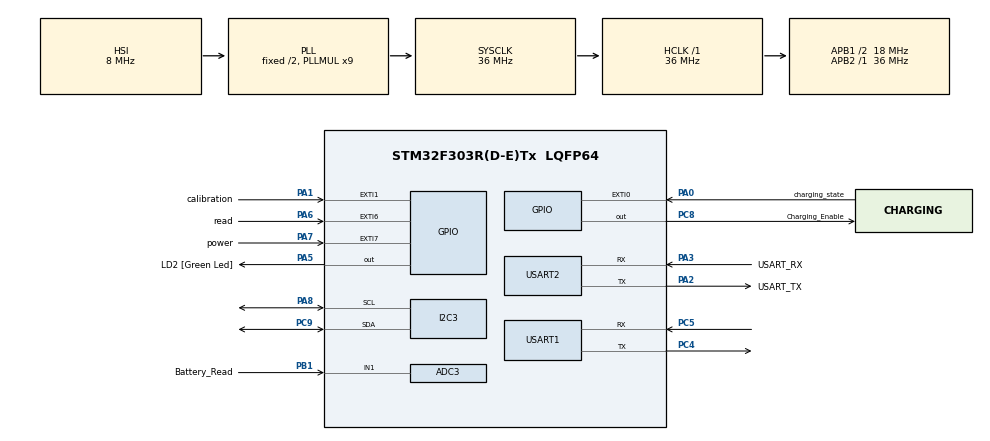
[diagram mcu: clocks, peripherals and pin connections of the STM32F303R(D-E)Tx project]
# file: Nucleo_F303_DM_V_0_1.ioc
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<<<<<<< HEAD
ADC3.Channel-1\#ChannelRegularConversion=ADC_CHANNEL_1
ADC3.ClockPrescaler=ADC_CLOCK_SYNC_PCLK_DIV2
ADC3.NbrOfConversionFlag=1
ADC3.Offset-1\#ChannelRegularConversion=0
ADC3.OffsetNumber-1\#ChannelRegularConversion=ADC_OFFSET_NONE
ADC3.Rank-1\#ChannelRegularConversion=1
ADC3.SamplingTime-1\#ChannelRegularConversion=ADC_SAMPLETIME_601CYCLES_5
ADC3.master=1
I2C3.Timing=0x00201D2B
Mcu.Family=STM32F3
Mcu.Name=STM32F303R(D-E)Tx
Mcu.Package=LQFP64
NVIC.EXTI0_IRQn=true\:0\:0\:false\:false\:true\:true\:true\:true
NVIC.EXTI1_IRQn=true\:0\:0\:false\:false\:true\:true\:true\:true
NVIC.EXTI9_5_IRQn=true\:0\:0\:false\:false\:true\:true\:true\:true
NVIC.PriorityGroup=NVIC_PRIORITYGROUP_0
NVIC.RTC_WKUP_IRQn=true\:0\:0\:false\:false\:true\:true\:true\:true
PA0.GPIO_Label=charging_state
PA0.GPIO_ModeDefaultEXTI=GPIO_MODE_IT_FALLING
PA0.GPIO_PuPd=GPIO_PULLUP
PA0.Signal=GPXTI0
PA1.GPIO_Label=calibration
PA1.GPIO_ModeDefaultEXTI=GPIO_MODE_IT_FALLING
PA1.GPIO_PuPd=GPIO_PULLUP
PA1.Signal=GPXTI1
PA13.GPIO_Label=TMS
PA13.Mode=Serial_Wire
PA13.Signal=SYS_JTMS-SWDIO
PA14.GPIO_Label=TCK
PA14.Mode=Serial_Wire
PA14.Signal=SYS_JTCK-SWCLK
PA2.GPIO_Label=USART_TX
PA2.GPIO_Mode=GPIO_MODE_AF_PP
PA2.GPIO_PuPd=GPIO_NOPULL
PA2.GPIO_Speed=GPIO_SPEED_FREQ_LOW
PA2.Mode=Asynchronous
PA2.Signal=USART2_TX
PA3.GPIO_Label=USART_RX
PA3.GPIO_Mode=GPIO_MODE_AF_PP
PA3.GPIO_PuPd=GPIO_NOPULL
PA3.GPIO_Speed=GPIO_SPEED_FREQ_LOW
PA3.Mode=Asynchronous
PA3.Signal=USART2_RX
PA5.GPIO_Label=LD2 [Green Led]
PA5.GPIO_Mode=GPIO_MODE_OUTPUT_PP
PA5.GPIO_PuPd=GPIO_NOPULL
PA5.GPIO_Speed=GPIO_SPEED_FREQ_LOW
PA5.Signal=GPIO_Output
PA6.GPIO_Label=read
PA6.GPIO_ModeDefaultEXTI=GPIO_MODE_IT_FALLING
PA6.GPIO_PuPd=GPIO_PULLUP
PA6.Signal=GPXTI6
PA7.GPIO_Label=power
PA7.GPIO_ModeDefaultEXTI=GPIO_MODE_IT_FALLING
PA7.GPIO_PuPd=GPIO_PULLUP
PA7.Signal=GPXTI7
PA8.Mode=I2C
PA8.Signal=I2C3_SCL
PB1.GPIO_Label=Battery_Read
PB1.Mode=IN1-Single-Ended
PB1.Signal=ADC3_IN1
PC13.Mode=SYS_WakeUp1
PC13.Signal=SYS_WKUP2
PC14-OSC32_IN.Mode=LSE-External-Oscillator
PC14-OSC32_IN.Signal=RCC_OSC32_IN
PC15-OSC32_OUT.Mode=LSE-External-Oscillator
PC15-OSC32_OUT.Signal=RCC_OSC32_OUT
PC4.Mode=Asynchronous
PC4.Signal=USART1_TX
PC5.Mode=Asynchronous
PC5.Signal=USART1_RX
PC8.GPIO_Label=Charging_Enable
PC8.GPIO_ModeDefaultOutputPP=GPIO_MODE_OUTPUT_OD
PC8.GPIO_PuPd=GPIO_NOPULL
PC8.Signal=GPIO_Output
PC9.Mode=I2C
PC9.Signal=I2C3_SDA
PF0-OSC_IN.Mode=HSE-External-Clock-Source
PF0-OSC_IN.Signal=RCC_OSC_IN
PF1-OSC_OUT.Signal=RCC_OSC_OUT
ProjectManager.HeapSize=0x200
ProjectManager.StackSize=0x400
ProjectManager.TargetToolchain=STM32CubeIDE
RCC.AHBFreq_Value=36000000
RCC.APB1CLKDivider=RCC_HCLK_DIV2
RCC.APB1Freq_Value=18000000
RCC.APB1TimFreq_Value=36000000
RCC.APB2Freq_Value=36000000
RCC.APB2TimFreq_Value=36000000
RCC.CortexFreq_Value=36000000
RCC.HCLKFreq_Value=36000000
RCC.HSE_VALUE=8000000
RCC.HSI_VALUE=8000000
RCC.PLLM=8
RCC.PLLMUL=RCC_PLL_MUL9
RCC.PLLN=336
RCC.PLLP=RCC_PLLP_DIV4
RCC.PLLQ=7
RCC.RCC_PLLsource_Clock_Source_FROM_HSE=RCC_HSE_PREDIV_DIV2
RCC.RTCClockSelection=RCC_RTCCLKSOURCE_LSE
RCC.SYSCLKFreq_VALUE=36000000
RCC.SYSCLKSourceVirtual=RCC_SYSCLKSOURCE_PLLCLK
RCC.USBFreq_Value=36000000
USART1.VirtualMode-Asynchronous=VM_ASYNC
USART2.VirtualMode-Asynchronous=VM_ASYNC
VP_ADC3_Vref_Input.Mode=IN-Vrefint
VP_RTC_VS_RTC_Activate.Mode=RTC_Enabled
VP_RTC_VS_RTC_Calendar.Mode=RTC_Calendar
VP_RTC_VS_RTC_WakeUp_intern.Mode=WakeUp
board=NUCLEO-F303RE
=======
ADC3.Channel-1\#ChannelRegularConversion=ADC_CHANNEL_1
ADC3.ClockPrescaler=ADC_CLOCK_SYNC_PCLK_DIV2
ADC3.NbrOfConversionFlag=1
ADC3.Offset-1\#ChannelRegularConversion=0
ADC3.OffsetNumber-1\#ChannelRegularConversion=ADC_OFFSET_NONE
ADC3.Rank-1\#ChannelRegularConversion=1
ADC3.SamplingTime-1\#ChannelRegularConversion=ADC_SAMPLETIME_601CYCLES_5
ADC3.master=1
I2C3.Timing=0x00201D2B
Mcu.Family=STM32F3
Mcu.Name=STM32F303R(D-E)Tx
Mcu.Package=LQFP64
NVIC.EXTI0_IRQn=true\:0\:0\:false\:false\:true\:true\:true\:true
NVIC.EXTI1_IRQn=true\:0\:0\:false\:false\:true\:true\:true\:true
NVIC.EXTI9_5_IRQn=true\:0\:0\:false\:false\:true\:true\:true\:true
NVIC.PriorityGroup=NVIC_PRIORITYGROUP_0
NVIC.RTC_WKUP_IRQn=true\:0\:0\:false\:false\:true\:true\:true\:true
PA0.GPIO_Label=charging_state
PA0.GPIO_ModeDefaultEXTI=GPIO_MODE_IT_FALLING
PA0.GPIO_PuPd=GPIO_PULLUP
PA0.Signal=GPXTI0
PA1.GPIO_Label=calibration
PA1.GPIO_ModeDefaultEXTI=GPIO_MODE_IT_FALLING
PA1.GPIO_PuPd=GPIO_PULLUP
PA1.Signal=GPXTI1
PA13.GPIO_Label=TMS
PA13.Mode=Serial_Wire
PA13.Signal=SYS_JTMS-SWDIO
PA14.GPIO_Label=TCK
PA14.Mode=Serial_Wire
PA14.Signal=SYS_JTCK-SWCLK
PA2.GPIO_Label=USART_TX
PA2.GPIO_Mode=GPIO_MODE_AF_PP
PA2.GPIO_PuPd=GPIO_NOPULL
PA2.GPIO_Speed=GPIO_SPEED_FREQ_LOW
PA2.Mode=Asynchronous
PA2.Signal=USART2_TX
PA3.GPIO_Label=USART_RX
PA3.GPIO_Mode=GPIO_MODE_AF_PP
PA3.GPIO_PuPd=GPIO_NOPULL
PA3.GPIO_Speed=GPIO_SPEED_FREQ_LOW
PA3.Mode=Asynchronous
PA3.Signal=USART2_RX
PA5.GPIO_Label=LD2 [Green Led]
PA5.GPIO_Mode=GPIO_MODE_OUTPUT_PP
PA5.GPIO_PuPd=GPIO_NOPULL
PA5.GPIO_Speed=GPIO_SPEED_FREQ_LOW
PA5.Signal=GPIO_Output
PA6.GPIO_Label=read
PA6.GPIO_ModeDefaultEXTI=GPIO_MODE_IT_FALLING
PA6.GPIO_PuPd=GPIO_PULLUP
PA6.Signal=GPXTI6
PA7.GPIO_Label=power
PA7.GPIO_ModeDefaultEXTI=GPIO_MODE_IT_FALLING
PA7.GPIO_PuPd=GPIO_PULLUP
PA7.Signal=GPXTI7
PA8.Mode=I2C
PA8.Signal=I2C3_SCL
PB1.GPIO_Label=Battery_Read
PB1.Mode=IN1-Single-Ended
PB1.Signal=ADC3_IN1
PC13.Mode=SYS_WakeUp1
PC13.Signal=SYS_WKUP2
PC14-OSC32_IN.Mode=LSE-External-Oscillator
PC14-OSC32_IN.Signal=RCC_OSC32_IN
PC15-OSC32_OUT.Mode=LSE-External-Oscillator
PC15-OSC32_OUT.Signal=RCC_OSC32_OUT
PC4.Mode=Asynchronous
PC4.Signal=USART1_TX
PC5.Mode=Asynchronous
PC5.Signal=USART1_RX
PC8.GPIO_Label=Charging_Enable
PC8.GPIO_ModeDefaultOutputPP=GPIO_MODE_OUTPUT_OD
PC8.GPIO_PuPd=GPIO_NOPULL
PC8.Signal=GPIO_Output
PC9.Mode=I2C
PC9.Signal=I2C3_SDA
PF0-OSC_IN.Mode=HSE-External-Clock-Source
PF0-OSC_IN.Signal=RCC_OSC_IN
PF1-OSC_OUT.Signal=RCC_OSC_OUT
ProjectManager.HeapSize=0x200
ProjectManager.StackSize=0x400
ProjectManager.TargetToolchain=STM32CubeIDE
RCC.AHBFreq_Value=36000000
RCC.APB1CLKDivider=RCC_HCLK_DIV2
RCC.APB1Freq_Value=18000000
RCC.APB1TimFreq_Value=36000000
RCC.APB2Freq_Value=36000000
RCC.APB2TimFreq_Value=36000000
RCC.CortexFreq_Value=36000000
RCC.HCLKFreq_Value=36000000
RCC.HSE_VALUE=8000000
RCC.HSI_VALUE=8000000
RCC.PLLM=8
RCC.PLLMUL=RCC_PLL_MUL9
RCC.PLLN=336
RCC.PLLP=RCC_PLLP_DIV4
RCC.PLLQ=7
RCC.RCC_PLLsource_Clock_Source_FROM_HSE=RCC_HSE_PREDIV_DIV2
RCC.RTCClockSelection=RCC_RTCCLKSOURCE_LSE
RCC.SYSCLKFreq_VALUE=36000000
RCC.SYSCLKSourceVirtual=RCC_SYSCLKSOURCE_PLLCLK
RCC.USBFreq_Value=36000000
USART1.VirtualMode-Asynchronous=VM_ASYNC
USART2.VirtualMode-Asynchronous=VM_ASYNC
VP_ADC3_Vref_Input.Mode=IN-Vrefint
VP_RTC_VS_RTC_Activate.Mode=RTC_Enabled
VP_RTC_VS_RTC_Calendar.Mode=RTC_Calendar
VP_RTC_VS_RTC_WakeUp_intern.Mode=WakeUp
board=NUCLEO-F303RE
>>>>>>> cf9448a530b8a85f2756b946e50126ee8d38b2d1

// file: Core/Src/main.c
/* USER CODE BEGIN Header */
/**
*
*  Created on: Apr 29, 2026
*      Author: SwapnilShinde

  ******************************************************************************
  * @file           : main.c
  * @brief          : DestnoMeter - Optical Density Measurement System
  * @author         : SwapnilShinde
  *
  ******************************************************************************
  * @attention
  *
  * Copyright (c) 2026 STMicroelectronics.
  * All rights reserved.
  *
  * This software is licensed under terms that can be found in the LICENSE file
  * in the root directory of this software component.
  * If no LICENSE file comes with this software, it is provided AS-IS.
  *
  ******************************************************************************
  */
/* USER CODE END Header */
#include "main.h"

/* USER CODE BEGIN Includes */
#include "sh1107.h"
#include "tsl2591.h"
#include <stdio.h>
#include <string.h>
#include <math.h>
#include "adc.h"
/* USER CODE END Includes */

ADC_HandleTypeDef hadc3;

I2C_HandleTypeDef hi2c3;

RTC_HandleTypeDef hrtc;

UART_HandleTypeDef huart1;
UART_HandleTypeDef huart2;

/* USER CODE BEGIN PV */
static uint8_t current_data[5];
static uint8_t history_1[5];
static uint8_t history_2[5];
volatile uint8_t calibration_button_pressed = 0;
volatile uint8_t power_button_pressed = 0;
volatile uint8_t read_button_pressed = 0;
uint8_t one_time_calibration_flag = 1;
uint32_t last_interrupt_time = 0;
uint8_t restart_counter= 0;
volatile uint8_t charging_state_Pin_pressed = 0;
/* USER CODE END PV */

void SystemClock_Config(void);
static void MX_GPIO_Init(void);
static void MX_USART2_UART_Init(void);
static void MX_I2C3_Init(void);
static void MX_ADC3_Init(void);
static void MX_USART1_UART_Init(void);
static void MX_RTC_Init(void);

/* USER CODE BEGIN 0 */
void UART_Log(char *msg) {
    HAL_UART_Transmit(&huart2, (uint8_t*)msg, strlen(msg), HAL_MAX_DELAY);
}

/**
 * @brief Helper to shift history and update current digits for display
 */
void Update_History(float lux) {
    // 1. Shift History Arrays (Full 5 bytes)
    memcpy(history_2, history_1, 5);
    memcpy(history_1, current_data, 5);

    // 2. Format new data for the custom display logic
    // Example: If LUX is 123.45, display might need specific digit mapping
    int32_t lux_whole = (int32_t)lux;
    int32_t lux_decimal = (int32_t)((lux - lux_whole) * 100);

    current_data[0] = (uint8_t)(lux_whole % 10);
    current_data[1] = (uint8_t)(lux_decimal / 10);
    current_data[2] = (uint8_t)(lux_decimal % 10);
}
/* USER CODE END 0 */

int main(void)
{

  /* MCU Configuration--------------------------------------------------------*/

  /* Reset of all peripherals, Initializes the Flash interface and the Systick. */
  HAL_Init();

  /* Configure the system clock */
  SystemClock_Config();

  /* Initialize all configured peripherals */
  MX_GPIO_Init();
  MX_USART2_UART_Init();
  MX_I2C3_Init();
  MX_ADC3_Init();
  MX_USART1_UART_Init();
  MX_RTC_Init();
  /* USER CODE BEGIN 2 */

  /* USER CODE BEGIN 2 */

    // 3. Check if we just woke up from Standby
    if (__HAL_PWR_GET_FLAG(PWR_FLAG_SB) != RESET)
    {
        __HAL_PWR_CLEAR_FLAG(PWR_FLAG_SB);
//        enable battery chraging
        HAL_GPIO_WritePin(Charging_Enable_GPIO_Port, Charging_Enable_Pin, GPIO_PIN_SET);   // HIGH
        HAL_GPIO_WritePin(LD2_GPIO_Port, LD2_Pin, GPIO_PIN_SET);

        UART_Log("System woke up from Standby. Peripherals re-initialized.\r\n");
    }
    else
    {
        UART_Log("Cold boot / Power-on reset.\r\n");
    }

   char uart_buf[128];
   uint32_t last_main_Tick = 0;

   // Verify connection to the display before trying to configure it
       if (HAL_I2C_IsDeviceReady(&hi2c3, SH1107_I2C_ADDR, 3, 50) != HAL_OK)
       {
    	   UART_Log("Display are not detected!\r\n");
           return HAL_ERROR; // Physical wires are missing or disconnected!
       }

       if (HAL_I2C_IsDeviceReady(&hi2c3, TSL2591_ADDR, 3, 50) != HAL_OK)
       {
    	   UART_Log("Sensor are not detected!\r\n");
           return HAL_ERROR; // Physical wires are missing or disconnected!
       }

   /* --- TSL2591 Sensor Init --- */
      ((TSL2591_Init(&hi2c3) == HAL_OK)?
        UART_Log("--- TSL2591 Sensor Initialized! ---\r\n"):
        UART_Log("--- TSL2591 Sensor Init Failed! ---\r\n"));

   /* --- SH1107 Display Init --- */
     if (sh1107_Init() == HAL_OK) // Most sh1107 drivers return 0 for success
     {

       UART_Log("--- SH1107 Display Initialized ---\r\n");
       sh1107_Fill(Black);
       sh1107_UpdateScreen(); // Clear the physical glass
       HAL_Delay(50);
       sh1107_DisplayFirstScreen(); // Logo/Splash
       sh1107_UpdateScreen();
       HAL_Delay(1500);
       sh1107_Fill(Black);
       sh1107_UpdateScreen(); // Clear the physical glass
       HAL_Delay(50);
	   sh1107_DisplayCallibrationScreen();
	   HAL_Delay(50);
	   sh1107_UpdateScreen(); // update the physical display
     }
     else
     {
         /* --- FAILURE CHECKPOINT --- */
         UART_Log("--- SH1107 Display Init Failed! Bus or Device Error ---\r\n");
     }

     UART_Log("Initialize Complete.\r\n");

     HAL_Delay(500);

  /* USER CODE END 2 */

  /* Infinite loop */
  while (1)
  {

    /* USER CODE BEGIN 3 */
	  /*
	   * Check wheather user pressed a calibration button or not.
	   */

	  uint32_t current_main_Tick = HAL_GetTick();

	  // Draw a battry symbol with fill battery %  at the upper left side.
	      int  battery_percent = percentage_return();
//	      int  battery_percent = 100;
	      // TO off charging battaery

	      if(charging_state_Pin_pressed)
	      {
	      if (battery_percent > 99)
	      {

	      HAL_GPIO_WritePin(Charging_Enable_GPIO_Port, Charging_Enable_Pin, GPIO_PIN_RESET);
	      HAL_GPIO_WritePin(LD2_GPIO_Port, LD2_Pin, GPIO_PIN_RESET);
//	      HAL_Delay(50);
//	      HAL_GPIO_WritePin(Charging_Enable_GPIO_Port, Charging_Enable_Pin, GPIO_PIN_SET);
//	      HAL_GPIO_WritePin(LD2_GPIO_Port, LD2_Pin, GPIO_PIN_SET);
	      }

	      else {
	    	  if(HAL_GPIO_ReadPin(GPIOA, charging_state_Pin))

	    	  	  {
			  UART_Log("Device is Charging.\r\n");
		      HAL_GPIO_WritePin(Charging_Enable_GPIO_Port, Charging_Enable_Pin, GPIO_PIN_SET);
	//	      HAL_Delay(50);
		      HAL_GPIO_WritePin(LD2_GPIO_Port, LD2_Pin, GPIO_PIN_SET);
		       HAL_Delay(50);
	    	  	  }
	    	  else{
				  UART_Log("Charger is not connected.\r\n");
			      HAL_GPIO_WritePin(Charging_Enable_GPIO_Port, Charging_Enable_Pin, GPIO_PIN_RESET);
		//	      HAL_Delay(50);
			      HAL_GPIO_WritePin(LD2_GPIO_Port, LD2_Pin, GPIO_PIN_RESET);
			       HAL_Delay(50);
	    	  }
	      	  }
	      }
	      sh1107_DrawProgressBar(battery_percent);
	      sh1107_UpdateScreen();

	  if((current_main_Tick - last_main_Tick) > (30 * 1000) )   //30*1000 mSec
	  {
		  UART_Log("STOP MODE ON.\r\n");
//		  last_main_Tick =  current_main_Tick;
    	  // 2. Enable Power Clock
    	  __HAL_RCC_PWR_CLK_ENABLE();

    	  /* 3.  IMPORTANT: Clear the WAKEUP flag AND the STANDBY flag
    	        need to clear both to reset the internal latch
    	  */
    	  __HAL_PWR_CLEAR_FLAG(PWR_FLAG_WU);
    	  __HAL_PWR_CLEAR_FLAG(PWR_FLAG_SB);

    	  /*
    	     4. CRITICAL: Clear any pending EXTI interrupts
    	    * This prevents a legacy button press flag from waking the MCU up instantly.
    	   */
    	  __HAL_GPIO_EXTI_CLEAR_IT(read_Pin);

    	  /* 5. CRITICAL: Disable the 1ms SysTick interrupt
    	     Otherwise, SysTick will wake up the MCU in less than 1 millisecond.
    	  */
//    	  HAL_SuspendTick();
    	  HAL_Delay(50);
    	  /* Set the RTC Auto-Wakeup Timer to trigger an interrupt every 5 seconds */
    	  HAL_RTCEx_SetWakeUpTimer_IT(&hrtc, 5, RTC_WAKEUPCLOCK_CK_SPRE_16BITS);

    	  if(restart_counter > 5)
    	  {
    		  UART_Log("Shut Down mode.\r\n");
    		  power_button_pressed = 1;
    		  sh1107_DisplayCustomData(current_data);
    	  }

    	  /*
    	   * we only sleep in tls sensor because battery symbol we will be required to pop up in some duration for identify the device is sleep mode.
    	   *
    	   */

    	  if (TSL2591_Sleep(&hi2c3) != HAL_OK)
    	      {
    		  UART_Log("TLS2591 sensor are not in sleep mode.\r\n");// Handle I2C error if the sensor didn't acknowledge
    	      }
    	  else {
    		  UART_Log("TLS2591 sensor in a sleep mode.\r\n");// Handle I2C error if the sensor didn't acknowledge
    	  }

    	  /* Drop into Stop Mode. The CPU turns OFF right here. */
    	  HAL_PWR_EnterSTOPMode(PWR_LOWPOWERREGULATOR_ON, PWR_STOPENTRY_WFI);

    	  // Deactivate the wakeup timer so it doesn't fire continuously while we work
    	  HAL_RTCEx_DeactivateWakeUpTimer(&hrtc);

    	  /* 6. CRITICAL: Restore system clocks back to full speed (PLL, HSE, etc.) */
    	  SystemClock_Config();

    	  /* 7. CRITICAL: Turn the 1ms SysTick interrupt back on for
    	   *  HAL_Delay/Timeouts
    	   */
    	  HAL_ResumeTick();

    	  restart_counter++ ;

    	  /* 8. Re-initialize or re-verify hardware peripherals if required */
    	  UART_Log("Woke up from Stop Mode! Clock system restored.\r\n");

    	  // 7. Re-initialize the I2C Bus to resume communications
    	      MX_I2C3_Init();

    	      // 8. Wake the TSL2591 back up
    	      /* --- TSL2591 Sensor Init --- */
    	         ((TSL2591_Wakeup(&hi2c3) == HAL_OK)?
    	           UART_Log("--- TSL2591 Sensor Wakeup! ---\r\n"):
    	           UART_Log("--- TSL2591 Sensor wakeup failed! ---\r\n"));

    	  HAL_Delay(200);
  }

      /* --- Manual Re-Calibration Trigger--- */
      if (calibration_button_pressed)
      {
          UART_Log("Manual Re-calibration button pressed....\r\n");
		  sh1107_Fill(Black);
		  sh1107_UpdateScreen();
		  HAL_Delay(50);
		  sh1107_DisplayCallibrationScreen();
		  sh1107_UpdateScreen(); // update the physical display
		  last_main_Tick = HAL_GetTick();
		  __HAL_GPIO_EXTI_CLEAR_IT(calibration_Pin);
		  one_time_calibration_flag = 1;
          calibration_button_pressed = 0;
          HAL_NVIC_EnableIRQ(EXTI1_IRQn);
          HAL_Delay(50);
	  }

	  // battery_percent==0  important when battery % is 0 but controller is connected to a  2.7V Battery
      if(power_button_pressed  || battery_percent == 0 )
      {
    	  UART_Log("STAND BY MODE ON.\r\n");
    	  ((power_button_pressed == 1)?
    	  UART_Log("Power Button trigger\r\n") :
    	  UART_Log(" Due to Battery drop.\r\n"));
    	  UART_Log("Power OFF...\r\n");
    	  sh1107_Fill(Black);
    	  sh1107_UpdateScreen();
    	  HAL_Delay(50);
    	  sh1107_EndDisplay();
    	  sh1107_UpdateScreen();
    	  HAL_Delay(1000);
    	  power_button_pressed = 0;
    	  sh1107_Fill(Black);
    	  sh1107_UpdateScreen();
    	  HAL_Delay(50);

    	  //more power consumtion i2c sensor are in sleep mode.
    	  if (TSL2591_Sleep(&hi2c3) != HAL_OK)
    	      {
    		  UART_Log("TLS2591 sensor are not in sleep mode.\r\n");// Handle I2C error if the sensor didn't acknowledge
    	      }
    	  else {
    		  UART_Log("TLS2591 sensor in a sleep mode.\r\n");// Handle I2C error if the sensor didn't acknowledge
    	  }
    	  if (sh1107_Sleep() != HAL_OK)
    	  {
    		  UART_Log("Display are not in sleep mode.\r\n");// Handle I2C error if the sensor didn't acknowledge
    	  }
    	  else
    	  {
    	    UART_Log("Display in a sleep mode.\r\n");// Handle I2C error if the sensor didn't acknowledge
    	   }
    	  if (HAL_I2C_DeInit(&hi2c3) == HAL_OK) {
    		  UART_Log("I2C_off...\r\n");
    	  }

    	  if(HAL_ADC_Stop(&hadc3)==HAL_OK)
    	  {
    		  UART_Log("ADC_off...\r\n");
    	  }/* Deinitialize GPIO */
    	  HAL_GPIO_DeInit(GPIOA,

    	                  calibration_Pin   |
    	                  read_Pin          |
    	                  power_Pin);
//    	  __HAL_RCC_GPIOA_CLK_DISABLE();

    	  /* Disable EXTI interrupt */
    	  GPIO_InitTypeDef GPIO_InitStruct = {0};
    	  GPIO_InitStruct.Pin  = charging_state_Pin ;
    	  GPIO_InitStruct.Mode = GPIO_MODE_INPUT;
    	  GPIO_InitStruct.Pull = GPIO_PULLDOWN;
    	  HAL_GPIO_Init(GPIOA, &GPIO_InitStruct);

//    	  HAL_NVIC_DisableIRQ(EXTI1_IRQn);
//    	  HAL_NVIC_DisableIRQ(EXTI9_5_IRQn);
//    	  HAL_NVIC_DisableIRQ(EXTI15_10_IRQn);

    	  // 2. Enable Power Clock
    	  __HAL_RCC_PWR_CLK_ENABLE();

    	  // 1. Disable the pin to prevent electrical conflict

    	  // 3. Disable the wakeup pin configuration register first
    	            HAL_PWR_DisableWakeUpPin(PWR_WAKEUP_PIN1);
    	      	  // 3. IMPORTANT: Clear the WAKEUP flag AND the STANDBY flag
    	      	  // need to clear both to reset the internal latch
    	      	  __HAL_PWR_CLEAR_FLAG(PWR_FLAG_WU);
    	      	  __HAL_PWR_CLEAR_FLAG(PWR_FLAG_SB);
//    	    	  __HAL_GPIO_EXTI_CLEAR_IT(power_Pin);
//    	    	  __HAL_GPIO_EXTI_CLEAR_IT(charging_state_Pin);

    	            // 5. Enable Wakeup Pin 2 (PC13) in native RISING mode
    	            // On STM32F3, this function configures WKUP2 natively for a rising edge.
    	            HAL_PWR_EnableWakeUpPin(PWR_WAKEUP_PIN1);
    	            HAL_Delay(500 );
    	  HAL_SuspendTick();
    	  HAL_PWR_EnterSTANDBYMode();
    	  HAL_ResumeTick();
      }

      if(read_button_pressed)
      {
    	  UART_Log("|| READING SENSOR DATA || \r\n");
    	  float i0_reffernce;
         if (one_time_calibration_flag == 1)
         {
        	 i0_reffernce = TSL2591_Calibrate(&hi2c3);
        	 one_time_calibration_flag =0;

         }
      /* --- Data Acquisition --- */
       uint16_t full, ir;
	  /* 1. Read Sensor */
       TSL2591_ReadData(&hi2c3, &full, &ir);
	      //Calculate a vary basic Lux estimate
       float lux = TSL2591_CalculateLux(full, ir);
       float od = 0.0f;
       if (lux < 0) {
           // SENSOR IS SATURATED

           sprintf(uart_buf, "RAW: %u | SENSOR SATURATED - LOWER GAIN!\r\n", full);
           UART_Log(uart_buf);
       }
       else
       {
       od = TSL2591_GetOpticalDensity(lux);
       }

       /* --- UI Update --- */
         Update_History(od);

         sh1107_Fill(Black);

         /* --- Logging --- */
         uint32_t lux_whole = (int)(lux);
         uint32_t lux_fractional_number = (int)((lux - (float)lux_whole) * 100.0f);

         uint32_t od_whole = (int)(od);
         uint32_t od_fractional_number = (int)((od - (float)od_whole) * 100.0f);

         uint32_t i0_reffernce_whole = (int)(i0_reffernce);
         uint32_t i0_fractional_number = (int)((i0_reffernce - (float)i0_reffernce_whole) * 100.0f);

         sprintf(uart_buf, "RAW: %u | LUX : %d.%02d | OD : %d.%02d  | i0 : %d.%d\r\n",
        		 full, lux_whole, lux_fractional_number,od_whole ,
        		 od_fractional_number,i0_reffernce_whole,i0_fractional_number);

          UART_Log(uart_buf);

	      // 5.2. Draw Current Main large vaule.
	      sh1107_DisplayCustomData(current_data);

	      // 5.4. Draw History (Smaller secondary displays)
	      sh1107_DisplayCustomData_1(history_1);
	      sh1107_DisplayCustomData_2(history_2);

	   	  // 5.5. Draw a line at X=32, from Y=0 to Y=127 */
	      // UI Separator Line
	      SH1107_DrawVerticalLine(43, 0, 127, White);

	    	  /*
	    	   *
	    	   */
	      sh1107_UpdateScreen(); // Push all drawings to display
	      read_button_pressed = 0;
	      HAL_Delay(50);
	      last_main_Tick = HAL_GetTick();
    	  __HAL_GPIO_EXTI_CLEAR_IT(read_Pin);
    	  HAL_NVIC_EnableIRQ(EXTI9_5_IRQn);
	      }

	      /* 6. currently its a polling based screen refreshment
	       *  if you want after change to a interrupt based.
	       */
	      HAL_Delay(1000);

  }
  /* USER CODE END 3 */
}

void SystemClock_Config(void)
{
  RCC_OscInitTypeDef RCC_OscInitStruct = {0};
  RCC_ClkInitTypeDef RCC_ClkInitStruct = {0};
  RCC_PeriphCLKInitTypeDef PeriphClkInit = {0};

  /** Configure LSE Drive Capability
  */
  HAL_PWR_EnableBkUpAccess();
  __HAL_RCC_LSEDRIVE_CONFIG(RCC_LSEDRIVE_LOW);

  /** Initializes the RCC Oscillators according to the specified parameters
  * in the RCC_OscInitTypeDef structure.
  */
  RCC_OscInitStruct.OscillatorType = RCC_OSCILLATORTYPE_HSI|RCC_OSCILLATORTYPE_LSE;
  RCC_OscInitStruct.LSEState = RCC_LSE_ON;
  RCC_OscInitStruct.HSIState = RCC_HSI_ON;
  RCC_OscInitStruct.HSICalibrationValue = RCC_HSICALIBRATION_DEFAULT;
  RCC_OscInitStruct.PLL.PLLState = RCC_PLL_ON;
  RCC_OscInitStruct.PLL.PLLSource = RCC_PLLSOURCE_HSI;
  RCC_OscInitStruct.PLL.PLLMUL = RCC_PLL_MUL9;
  RCC_OscInitStruct.PLL.PREDIV = RCC_PREDIV_DIV1;
  if (HAL_RCC_OscConfig(&RCC_OscInitStruct) != HAL_OK)
  {
    Error_Handler();
  }

  /** Initializes the CPU, AHB and APB buses clocks
  */
  RCC_ClkInitStruct.ClockType = RCC_CLOCKTYPE_HCLK|RCC_CLOCKTYPE_SYSCLK
                              |RCC_CLOCKTYPE_PCLK1|RCC_CLOCKTYPE_PCLK2;
  RCC_ClkInitStruct.SYSCLKSource = RCC_SYSCLKSOURCE_PLLCLK;
  RCC_ClkInitStruct.AHBCLKDivider = RCC_SYSCLK_DIV1;
  RCC_ClkInitStruct.APB1CLKDivider = RCC_HCLK_DIV2;
  RCC_ClkInitStruct.APB2CLKDivider = RCC_HCLK_DIV1;

  if (HAL_RCC_ClockConfig(&RCC_ClkInitStruct, FLASH_LATENCY_1) != HAL_OK)
  {
    Error_Handler();
  }
  PeriphClkInit.PeriphClockSelection = RCC_PERIPHCLK_USART1|RCC_PERIPHCLK_USART2
                              |RCC_PERIPHCLK_I2C3|RCC_PERIPHCLK_RTC;
  PeriphClkInit.Usart1ClockSelection = RCC_USART1CLKSOURCE_PCLK2;
  PeriphClkInit.Usart2ClockSelection = RCC_USART2CLKSOURCE_PCLK1;
  PeriphClkInit.I2c3ClockSelection = RCC_I2C3CLKSOURCE_HSI;
  PeriphClkInit.RTCClockSelection = RCC_RTCCLKSOURCE_LSE;
  if (HAL_RCCEx_PeriphCLKConfig(&PeriphClkInit) != HAL_OK)
  {
    Error_Handler();
  }
}

static void MX_ADC3_Init(void)
{

  ADC_MultiModeTypeDef multimode = {0};
  ADC_ChannelConfTypeDef sConfig = {0};

  /** Common config
  */
  hadc3.Instance = ADC3;
  hadc3.Init.ClockPrescaler = ADC_CLOCK_SYNC_PCLK_DIV2;
  hadc3.Init.Resolution = ADC_RESOLUTION_12B;
  hadc3.Init.ScanConvMode = ADC_SCAN_DISABLE;
  hadc3.Init.ContinuousConvMode = DISABLE;
  hadc3.Init.DiscontinuousConvMode = DISABLE;
  hadc3.Init.ExternalTrigConvEdge = ADC_EXTERNALTRIGCONVEDGE_NONE;
  hadc3.Init.ExternalTrigConv = ADC_SOFTWARE_START;
  hadc3.Init.DataAlign = ADC_DATAALIGN_RIGHT;
  hadc3.Init.NbrOfConversion = 1;
  hadc3.Init.DMAContinuousRequests = DISABLE;
  hadc3.Init.EOCSelection = ADC_EOC_SINGLE_CONV;
  hadc3.Init.LowPowerAutoWait = DISABLE;
  hadc3.Init.Overrun = ADC_OVR_DATA_OVERWRITTEN;
  if (HAL_ADC_Init(&hadc3) != HAL_OK)
  {
    Error_Handler();
  }

  /** Configure the ADC multi-mode
  */
  multimode.Mode = ADC_MODE_INDEPENDENT;
  if (HAL_ADCEx_MultiModeConfigChannel(&hadc3, &multimode) != HAL_OK)
  {
    Error_Handler();
  }

  /** Configure Regular Channel
  */
  sConfig.Channel = ADC_CHANNEL_1;
  sConfig.Rank = ADC_REGULAR_RANK_1;
  sConfig.SingleDiff = ADC_SINGLE_ENDED;
  sConfig.SamplingTime = ADC_SAMPLETIME_601CYCLES_5;
  sConfig.OffsetNumber = ADC_OFFSET_NONE;
  sConfig.Offset = 0;
  if (HAL_ADC_ConfigChannel(&hadc3, &sConfig) != HAL_OK)
  {
    Error_Handler();
  }
  /* USER CODE BEGIN ADC3_Init 2 */
  if (HAL_ADCEx_Calibration_Start(&hadc3, ADC_SINGLE_ENDED) != HAL_OK)
  {
      Error_Handler();
  }
  /* USER CODE END ADC3_Init 2 */

}

static void MX_I2C3_Init(void)
{

  hi2c3.Instance = I2C3;
  hi2c3.Init.Timing = 0x00201D2B;
  hi2c3.Init.OwnAddress1 = 0;
  hi2c3.Init.AddressingMode = I2C_ADDRESSINGMODE_7BIT;
  hi2c3.Init.DualAddressMode = I2C_DUALADDRESS_DISABLE;
  hi2c3.Init.OwnAddress2 = 0;
  hi2c3.Init.OwnAddress2Masks = I2C_OA2_NOMASK;
  hi2c3.Init.GeneralCallMode = I2C_GENERALCALL_DISABLE;
  hi2c3.Init.NoStretchMode = I2C_NOSTRETCH_DISABLE;
  if (HAL_I2C_Init(&hi2c3) != HAL_OK)
  {
    Error_Handler();
  }

  /** Configure Analogue filter
  */
  if (HAL_I2CEx_ConfigAnalogFilter(&hi2c3, I2C_ANALOGFILTER_ENABLE) != HAL_OK)
  {
    Error_Handler();
  }

  /** Configure Digital filter
  */
  if (HAL_I2CEx_ConfigDigitalFilter(&hi2c3, 0) != HAL_OK)
  {
    Error_Handler();
  }

}

static void MX_RTC_Init(void)
{

  RTC_TimeTypeDef sTime = {0};
  RTC_DateTypeDef sDate = {0};

  /** Initialize RTC Only
  */
  hrtc.Instance = RTC;
  hrtc.Init.HourFormat = RTC_HOURFORMAT_24;
  hrtc.Init.AsynchPrediv = 127;
  hrtc.Init.SynchPrediv = 255;
  hrtc.Init.OutPut = RTC_OUTPUT_DISABLE;
  hrtc.Init.OutPutPolarity = RTC_OUTPUT_POLARITY_HIGH;
  hrtc.Init.OutPutType = RTC_OUTPUT_TYPE_OPENDRAIN;
  if (HAL_RTC_Init(&hrtc) != HAL_OK)
  {
    Error_Handler();
  }

  /** Initialize RTC and set the Time and Date
  */
  sTime.Hours = 0x0;
  sTime.Minutes = 0x0;
  sTime.Seconds = 0x0;
  sTime.DayLightSaving = RTC_DAYLIGHTSAVING_NONE;
  sTime.StoreOperation = RTC_STOREOPERATION_RESET;
  if (HAL_RTC_SetTime(&hrtc, &sTime, RTC_FORMAT_BCD) != HAL_OK)
  {
    Error_Handler();
  }
  sDate.WeekDay = RTC_WEEKDAY_MONDAY;
  sDate.Month = RTC_MONTH_JANUARY;
  sDate.Date = 0x1;
  sDate.Year = 0x0;

  if (HAL_RTC_SetDate(&hrtc, &sDate, RTC_FORMAT_BCD) != HAL_OK)
  {
    Error_Handler();
  }

  /** Enable the WakeUp
  */
  if (HAL_RTCEx_SetWakeUpTimer_IT(&hrtc, 0, RTC_WAKEUPCLOCK_RTCCLK_DIV16) != HAL_OK)
  {
    Error_Handler();
  }

}

static void MX_USART1_UART_Init(void)
{

  huart1.Instance = USART1;
  huart1.Init.BaudRate = 38400;
  huart1.Init.WordLength = UART_WORDLENGTH_8B;
  huart1.Init.StopBits = UART_STOPBITS_1;
  huart1.Init.Parity = UART_PARITY_NONE;
  huart1.Init.Mode = UART_MODE_TX_RX;
  huart1.Init.HwFlowCtl = UART_HWCONTROL_NONE;
  huart1.Init.OverSampling = UART_OVERSAMPLING_16;
  huart1.Init.OneBitSampling = UART_ONE_BIT_SAMPLE_DISABLE;
  huart1.AdvancedInit.AdvFeatureInit = UART_ADVFEATURE_NO_INIT;
  if (HAL_UART_Init(&huart1) != HAL_OK)
  {
    Error_Handler();
  }

}

static void MX_USART2_UART_Init(void)
{

  huart2.Instance = USART2;
  huart2.Init.BaudRate = 38400;
  huart2.Init.WordLength = UART_WORDLENGTH_8B;
  huart2.Init.StopBits = UART_STOPBITS_1;
  huart2.Init.Parity = UART_PARITY_NONE;
  huart2.Init.Mode = UART_MODE_TX_RX;
  huart2.Init.HwFlowCtl = UART_HWCONTROL_NONE;
  huart2.Init.OverSampling = UART_OVERSAMPLING_16;
  huart2.Init.OneBitSampling = UART_ONE_BIT_SAMPLE_DISABLE;
  huart2.AdvancedInit.AdvFeatureInit = UART_ADVFEATURE_NO_INIT;
  if (HAL_UART_Init(&huart2) != HAL_OK)
  {
    Error_Handler();
  }

}

static void MX_GPIO_Init(void)
{
  GPIO_InitTypeDef GPIO_InitStruct = {0};

  /* GPIO Ports Clock Enable */
  __HAL_RCC_GPIOC_CLK_ENABLE();
  __HAL_RCC_GPIOF_CLK_ENABLE();
  __HAL_RCC_GPIOA_CLK_ENABLE();
  __HAL_RCC_GPIOB_CLK_ENABLE();

  /*Configure GPIO pin Output Level */
  HAL_GPIO_WritePin(LD2_GPIO_Port, LD2_Pin, GPIO_PIN_RESET);

  /*Configure GPIO pin Output Level */
  HAL_GPIO_WritePin(Charging_Enable_GPIO_Port, Charging_Enable_Pin, GPIO_PIN_RESET);

  /*Configure GPIO pins : charging_state_Pin calibration_Pin read_Pin power_Pin */
  GPIO_InitStruct.Pin = charging_state_Pin|calibration_Pin|read_Pin|power_Pin;
  GPIO_InitStruct.Mode = GPIO_MODE_IT_FALLING;
  GPIO_InitStruct.Pull = GPIO_PULLUP;
  HAL_GPIO_Init(GPIOA, &GPIO_InitStruct);

  /*Configure GPIO pin : LD2_Pin */
  GPIO_InitStruct.Pin = LD2_Pin;
  GPIO_InitStruct.Mode = GPIO_MODE_OUTPUT_PP;
  GPIO_InitStruct.Pull = GPIO_NOPULL;
  GPIO_InitStruct.Speed = GPIO_SPEED_FREQ_LOW;
  HAL_GPIO_Init(LD2_GPIO_Port, &GPIO_InitStruct);

  /*Configure GPIO pin : Charging_Enable_Pin */
  GPIO_InitStruct.Pin = Charging_Enable_Pin;
  GPIO_InitStruct.Mode = GPIO_MODE_OUTPUT_OD;
  GPIO_InitStruct.Pull = GPIO_NOPULL;
  GPIO_InitStruct.Speed = GPIO_SPEED_FREQ_LOW;
  HAL_GPIO_Init(Charging_Enable_GPIO_Port, &GPIO_InitStruct);

  /* EXTI interrupt init*/
  HAL_NVIC_SetPriority(EXTI0_IRQn, 0, 0);
  HAL_NVIC_EnableIRQ(EXTI0_IRQn);

  HAL_NVIC_SetPriority(EXTI1_IRQn, 0, 0);
  HAL_NVIC_EnableIRQ(EXTI1_IRQn);

  HAL_NVIC_SetPriority(EXTI9_5_IRQn, 0, 0);
  HAL_NVIC_EnableIRQ(EXTI9_5_IRQn);

  /* USER CODE BEGIN MX_GPIO_Init_2 */

  /* Enable and set EXTI Line [15:10] Interrupt to wake up the MCU */
      HAL_NVIC_SetPriority(EXTI15_10_IRQn, 2, 0);
      HAL_NVIC_EnableIRQ(EXTI15_10_IRQn);

  /* USER CODE END MX_GPIO_Init_2 */
}

/* USER CODE BEGIN 4 */
void HAL_GPIO_EXTI_Callback(uint16_t GPIO_Pin)
{
	uint32_t current_time = HAL_GetTick(); // Get time in milliseconds

    if (GPIO_Pin == calibration_Pin)
    {
    	HAL_NVIC_DisableIRQ(EXTI1_IRQn);
    	 if ((current_time - last_interrupt_time) > 200)
    	 {
    		 UART_Log("calibration_Pin2\r\n");
    		 calibration_button_pressed = 1;
    		 last_interrupt_time = current_time; // Update the last trigger time
    	 }
    }

    if (GPIO_Pin == charging_state_Pin)
    {
    	HAL_NVIC_DisableIRQ(EXTI0_IRQn);
    	 if ((current_time - last_interrupt_time) > 200)
    	 {
    		 UART_Log("charging_state_Pin\r\n");
    		 charging_state_Pin_pressed = 1;
//    	        charging_event = 1;
    		 last_interrupt_time = current_time; // Update the last trigger time
    	 }
    }

    else if (GPIO_Pin == power_Pin)
    {
    	HAL_NVIC_DisableIRQ(EXTI9_5_IRQn);
   	 if ((current_time - last_interrupt_time) > 200)
   	 {
   		 UART_Log("power_Pin_2\r\n");
   		 power_button_pressed = 1;
   		 last_interrupt_time = current_time; // Update the last trigger time
   	 }
    }

   	 else if (GPIO_Pin == read_Pin)
   	 {
    	HAL_NVIC_DisableIRQ(EXTI9_5_IRQn);
      	 if ((current_time - last_interrupt_time) > 200)
      	 {
      		UART_Log("read_Pin2\r\n");
      		read_button_pressed = 1;
      		last_interrupt_time = current_time; // Update the last trigger time
      	 }
   	 }
}

/* USER CODE END 4 */

void Error_Handler(void)
{
  __disable_irq();
  while (1)
  {
  }
}
